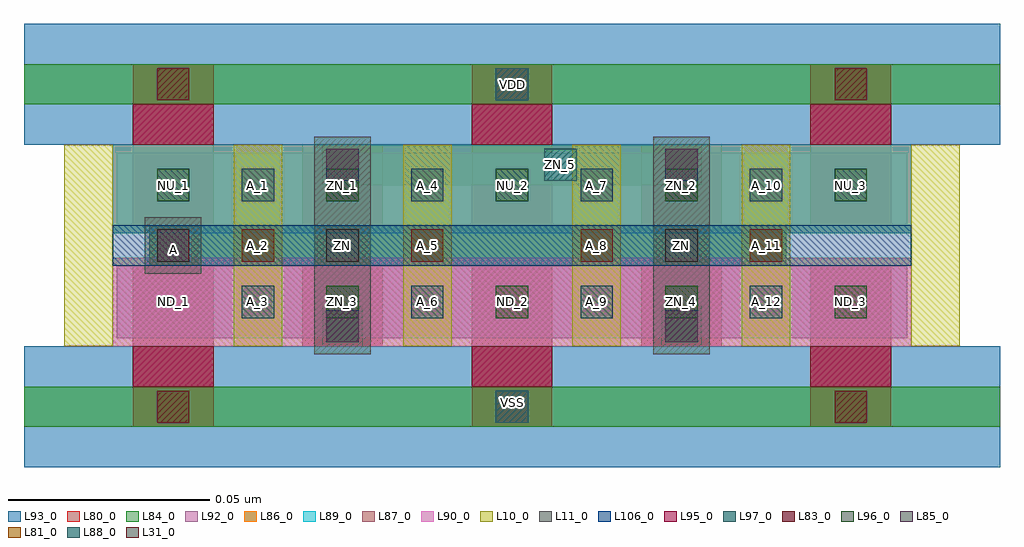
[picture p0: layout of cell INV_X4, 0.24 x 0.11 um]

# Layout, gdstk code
import gdstk
lib = gdstk.Library(unit=1e-6, precision=1e-09)
def R(c, l, rs):  # rectangles x0, y0, x1, y1
    for r in rs: c.add(gdstk.rectangle(r[:2], r[2:], *l))
def A(c, l, x, y, w, h, nx, ny, dx, dy):  # array of equal rectangles
    R(c, l, [(x+i*dx, y+j*dy, x+i*dx+w, y+j*dy+h) for i in range(nx) for j in range(ny)])
L10_0 = (10, 0)
L11_0 = (11, 0)
L31_0 = (31, 0)
L80_0 = (80, 0)
L81_0 = (81, 0)
L83_0 = (83, 0)
L84_0 = (84, 0)
L85_0 = (85, 0)
L86_0 = (86, 0)
L87_0 = (87, 0)
L88_0 = (88, 0)
L89_0 = (89, 0)
L90_0 = (90, 0)
L92_0 = (92, 0)
L93_0 = (93, 0)
L95_0 = (95, 0)
L96_0 = (96, 0)
L97_0 = (97, 0)
L106_0 = (106, 0)

inv_x4 = lib.new_cell('INV_X4')
A(inv_x4, L10_0, -0.027, 0.015, 0.012, 0.05, 6, 1, 0.042, 0)
R(inv_x4, L11_0, [(0.035,0.013,0.049,0.047), (0.119,0.013,0.133,0.047), (-0.007,0.033,0.007,0.047), (0.035,0.033,0.049,0.067), (0.119,0.033,0.133,0.067)])
R(inv_x4, L31_0, [(-0.004,0.036,0.004,0.044), (0.038,0.036,0.046,0.044), (0.122,0.036,0.13,0.044)])
A(inv_x4, L80_0, -0.01, -0.005, 0.02, 0.021, 3, 1, 0.084, 0)
A(inv_x4, L80_0, -0.01, 0.015, 0.02, 0.02, 5, 1, 0.042, 0)
A(inv_x4, L80_0, -0.01, 0.056, 0.02, 0.029, 3, 1, 0.084, 0)
R(inv_x4, L80_0, [(-0.01,0.045,0.01,0.065), (-0.01,0.045,0.01,0.065), (0.032,0.045,0.052,0.065), (0.032,0.045,0.052,0.065), (0.074,0.045,0.094,0.065), (0.074,0.045,0.094,0.065), (0.116,0.045,0.136,0.065), (0.116,0.045,0.136,0.065), (0.158,0.045,0.178,0.065), (0.158,0.045,0.178,0.065)])
A(inv_x4, L81_0, 0.017, 0.036, 0.008, 0.008, 4, 1, 0.042, 0)
A(inv_x4, L83_0, -0.004, -0.004, 0.008, 0.008, 3, 2, 0.084, 0.08)
R(inv_x4, L83_0, [(0.038,0.016,0.046,0.024), (0.122,0.016,0.13,0.024), (0.038,0.056,0.046,0.064), (0.122,0.056,0.13,0.064)])
A(inv_x4, L84_0, 0.037, 0.035, 0.031, 0.01, 5, 1, 0.021, 0)
A(inv_x4, L84_0, 0.037, 0.055, 0.031, 0.01, 4, 1, 0.021, 0)
R(inv_x4, L84_0, [(-0.037,-0.005,0.205,0.005), (0.037,0.015,0.047,0.025), (0.121,0.015,0.131,0.025), (-0.006,0.035,0.047,0.045), (-0.037,0.075,0.205,0.085)])
R(inv_x4, L85_0, [(0.038,0.016,0.046,0.024), (0.122,0.016,0.13,0.024), (-0.004,0.036,0.004,0.044), (0.038,0.056,0.046,0.064), (0.122,0.056,0.13,0.064)])
R(inv_x4, L86_0, [(-0.015,0.043,0.183,0.065)])
R(inv_x4, L87_0, [(-0.015,0.015,0.183,0.037)])
R(inv_x4, L88_0, [(0.08,-0.004,0.088,0.004), (0.092,0.056,0.1,0.064), (0.08,0.076,0.088,0.084)])
R(inv_x4, L89_0, [(-0.015,0.043,0.183,0.065)])
R(inv_x4, L90_0, [(-0.015,0.015,0.183,0.037)])
R(inv_x4, L92_0, [(-0.014,0.017,0.182,0.035), (-0.014,0.045,0.182,0.063)])
R(inv_x4, L93_0, [(-0.037,-0.015,0.205,0.015), (-0.037,0.065,0.205,0.095)])
A(inv_x4, L95_0, -0.01, 0.005, 0.02, 0.01, 3, 2, 0.084, 0.06)
A(inv_x4, L96_0, 0.038, 0.022, 0.008, 0.008, 4, 1, 0.042, 0)
A(inv_x4, L96_0, -0.004, 0.051, 0.008, 0.008, 5, 1, 0.042, 0)
A(inv_x4, L97_0, 0.017, 0.022, 0.008, 0.008, 4, 2, 0.042, 0.014)
A(inv_x4, L97_0, 0.017, 0.051, 0.008, 0.008, 4, 1, 0.042, 0)
R(inv_x4, L106_0, [(-0.015,0.035,0.183,0.045)])
inv_x4.add(gdstk.Label('ZN_5', (0.096,0.06), layer=88, texttype=0))
inv_x4.add(gdstk.Label('VDD', (0.084,0.08), layer=88, texttype=0))
inv_x4.add(gdstk.Label('VSS', (0.084,0.001), layer=88, texttype=0))
inv_x4.add(gdstk.Label('ND_1', (0,0.026), layer=96, texttype=0))
inv_x4.add(gdstk.Label('ZN_3', (0.042,0.026), layer=96, texttype=0))
inv_x4.add(gdstk.Label('ND_2', (0.084,0.026), layer=96, texttype=0))
inv_x4.add(gdstk.Label('ND_3', (0.168,0.026), layer=96, texttype=0))
inv_x4.add(gdstk.Label('ZN_4', (0.126,0.026), layer=96, texttype=0))
inv_x4.add(gdstk.Label('NU_1', (0,0.055), layer=96, texttype=0))
inv_x4.add(gdstk.Label('ZN_1', (0.042,0.055), layer=96, texttype=0))
inv_x4.add(gdstk.Label('NU_2', (0.084,0.055), layer=96, texttype=0))
inv_x4.add(gdstk.Label('NU_3', (0.168,0.055), layer=96, texttype=0))
inv_x4.add(gdstk.Label('ZN_2', (0.126,0.055), layer=96, texttype=0))
inv_x4.add(gdstk.Label('A_9', (0.105,0.026), layer=97, texttype=0))
inv_x4.add(gdstk.Label('A_8', (0.105,0.04), layer=97, texttype=0))
inv_x4.add(gdstk.Label('A_7', (0.105,0.055), layer=97, texttype=0))
inv_x4.add(gdstk.Label('A_12', (0.147,0.026), layer=97, texttype=0))
inv_x4.add(gdstk.Label('A_11', (0.147,0.04), layer=97, texttype=0))
inv_x4.add(gdstk.Label('A_10', (0.147,0.055), layer=97, texttype=0))
inv_x4.add(gdstk.Label('A_4', (0.063,0.055), layer=97, texttype=0))
inv_x4.add(gdstk.Label('A_5', (0.063,0.04), layer=97, texttype=0))
inv_x4.add(gdstk.Label('A_6', (0.063,0.026), layer=97, texttype=0))
inv_x4.add(gdstk.Label('A_1', (0.021,0.055), layer=97, texttype=0))
inv_x4.add(gdstk.Label('A_2', (0.021,0.04), layer=97, texttype=0))
inv_x4.add(gdstk.Label('A_3', (0.021,0.026), layer=97, texttype=0))
inv_x4.add(gdstk.Label('A', (0,0.039), layer=31, texttype=0))
inv_x4.add(gdstk.Label('ZN', (0.126,0.04), layer=31, texttype=0))
inv_x4.add(gdstk.Label('ZN', (0.042,0.04), layer=31, texttype=0))

lib.write_gds('INV_X4.gds')
